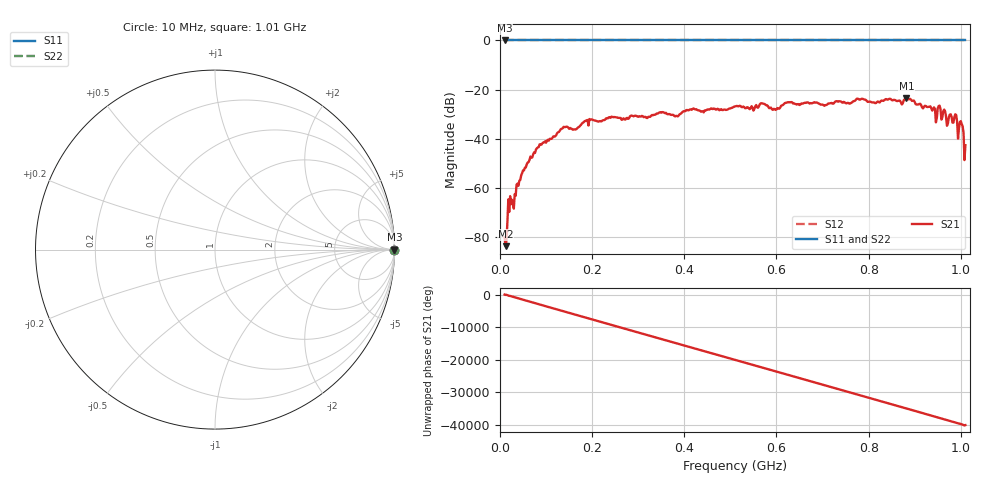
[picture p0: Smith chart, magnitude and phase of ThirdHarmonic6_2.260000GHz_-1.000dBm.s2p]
! 8/17/2025 2:47:05 AM
! C:\ANRITSUVNA\TEMP\TEMP.S2P
! CHANNEL.1
! TR.MEASUREMENT
! RAW.DATA
! RF.CORRECTION.OFF
! AVERAGING.OFF
! IF.BANDWIDTH: 5KHZ
! SWEEPTYPE:  FREQ.SWEEP(Linear)
! Reference Plane Port Info
! PORT:  PORT1  PORT2
! DISTANCE:  0  m  0  m
! TIME:  0  s  0  s
! PHASE.OFFSET:  0  deg.  0  deg.
! LOSS:  0  dB  0  dB
! REF.LOSS:  0  dB  0  dB
! REF.FREQ:  0  Hz  0  Hz
! Power Info
! POWER:  -20  dBm  -20  dBm
! EFF.POWER:  -20  dBm  -20  dBm
! SOURCE.ATTEN:  0  dB  0  dB
! TEST.ATTEN:  0  dB  0  dB
# GHZ S RI R 50.0
! FREQ.GHZ  S11RE  S11IM  S21RE  S21IM  S12RE  S12IM  S22RE  S22IM
!; PortSelection: Port_12
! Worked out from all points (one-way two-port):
!   501 points, 10 MHz to 1.01 GHz, reference 50 ohm
!   highest |S21| = -23.63 dB at 882 MHz (marker M1); lowest = -83.8 dB at 12 MHz (marker M2)
!   lowest |S11| = 0.0 dB at 10 MHz (marker M3)
!   |S11| at or under -10 dB: nowhere
!   |S22| runs from 0.0 to 0.0 dB; largest |S21 - S12| = 1.1
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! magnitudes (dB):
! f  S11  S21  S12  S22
! 10 MHz  0.0  -80.2  0.0  0.0
! 12 MHz  0.0  -83.8  0.0  0.0
! 22 MHz  0.0  -63.4  0.0  0.0
! 30 MHz  0.0  -68.5  0.0  0.0
! 50 MHz  0.0  -52.9  0.0  0.0
! 82 MHz  0.0  -43.6  0.0  0.0
! 136 MHz  0.0  -35.8  0.0  0.0
! 178 MHz  0.0  -33.8  0.0  0.0
! 344 MHz  0.0  -29.6  0.0  0.0
! 382 MHz  0.0  -30.7  0.0  0.0
! 416 MHz  0.0  -28.2  0.0  0.0
! 510 MHz  0.0  -26.9  0.0  0.0
! 570 MHz  0.0  -25.7  0.0  0.0
! 596 MHz  0.0  -28.0  0.0  0.0
! 624 MHz  0.0  -25.2  0.0  0.0
! 678 MHz  0.0  -25.5  0.0  0.0
! 844 MHz  0.0  -23.9  0.0  0.0
! 882 MHz  0.0  -23.6  0.0  0.0
! 972 MHz  0.0  -33.9  0.0  0.0
! 988 MHz  0.0  -30.1  0.0  0.0
! 1.002 GHz  0.0  -34.0  0.0  0.0
! 1.01 GHz  0.0  -42.7  0.0  0.0
